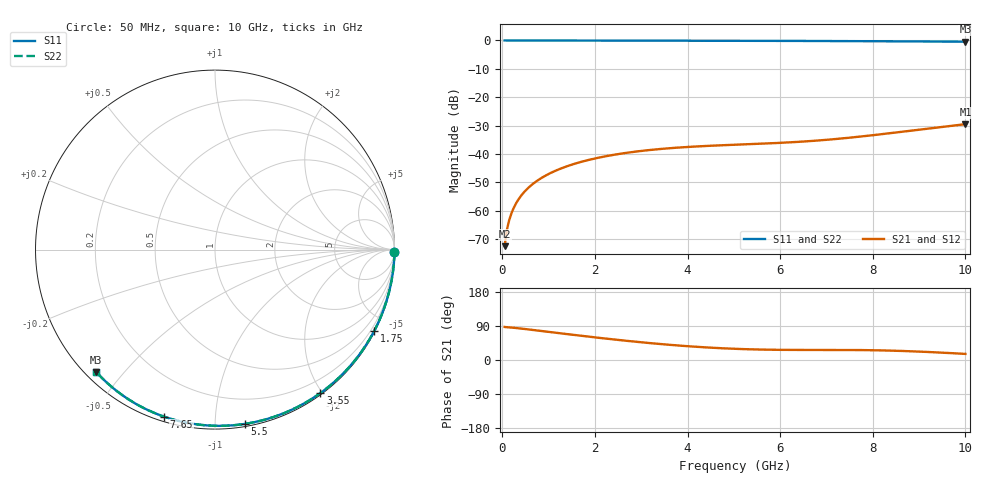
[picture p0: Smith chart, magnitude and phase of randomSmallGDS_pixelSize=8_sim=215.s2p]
! freq	dB(S11)	phase(S11)	dB(S12)	phase(S12)
!  dB(S21)	phase(S21)	dB(S22)	phase(S22)
!S-par simulation data
#  GHz  S  DB  R 50
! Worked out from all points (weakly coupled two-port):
!   200 points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, 50 MHz to 10 GHz, reference 50 ohm
!   highest |S21| = -29.49 dB at 10 GHz (marker M1); lowest = -72.5 dB at 50 MHz (marker M2)
!   lowest |S11| = -0.4 dB at 10 GHz (marker M3), VSWR 39.11, Z = 1.51 - j21.1 ohm
!   |S11| at or under -10 dB: nowhere
!   |S22| runs from -0.4 to 0.0 dB; largest |S21 - S12| = 0
!   S11 on the Smith chart (normalised r, x): 50 MHz: open; 1.75 GHz: 0.04, -4.14; 3.55 GHz: 0.02, -1.97; 5.5 GHz: 0.02, -1.18; 7.65 GHz: 0.02, -0.74; 10 GHz: 0.03, -0.42
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0.05  -0.00 -0.8  -72.47 87.2  -72.47 87.2  -0.00 -0.8
0.1  -0.00 -1.6  -66.67 86.5  -66.67 86.5  -0.00 -1.6
0.15  -0.00 -2.4  -63.24 86.1  -63.24 86.1  -0.00 -2.4
0.2  -0.00 -3.2  -60.79 85.6  -60.79 85.6  -0.00 -3.2
0.25  -0.00 -3.9  -58.87 85.0  -58.87 85.0  -0.00 -3.9
0.35  -0.00 -5.5  -55.98 83.8  -55.98 83.8  -0.00 -5.5
0.5  -0.01 -7.9  -52.92 81.7  -52.92 81.7  -0.01 -7.9
0.7  -0.01 -11.0  -50.05 78.7  -50.05 78.7  -0.01 -11.0
1  -0.02 -15.6  -47.05 74.2  -47.05 74.2  -0.02 -15.6
1.35  -0.03 -21.0  -44.59 69.1  -44.59 69.1  -0.03 -21.0
1.75  -0.03 -27.2  -42.57 63.2  -42.57 63.2  -0.03 -27.2
2.5  -0.05 -38.4  -40.03 53.0  -40.03 53.0  -0.05 -38.4
3.4  -0.07 -51.6  -38.25 42.3  -38.25 42.3  -0.07 -51.6
3.55  -0.07 -53.7  -38.04 40.7  -38.04 40.7  -0.07 -53.7
4.3  -0.09 -64.2  -37.25 34.0  -37.25 34.0  -0.09 -64.2
5.05  -0.11 -74.4  -36.72 29.4  -36.72 29.4  -0.11 -74.4
5.5  -0.13 -80.3  -36.43 27.7  -36.43 27.7  -0.13 -80.3
6.7  -0.18 -95.6  -35.39 26.5  -35.39 26.5  -0.18 -95.5
7.65  -0.24 -107.1  -34.00 26.3  -34.00 26.3  -0.24 -107.1
8.35  -0.29 -115.3  -32.72 24.9  -32.72 24.9  -0.29 -115.3
9.2  -0.36 -125.1  -31.05 21.1  -31.05 21.1  -0.36 -125.1
10  -0.44 -134.1  -29.49 16.1  -29.49 16.1  -0.44 -134.1
